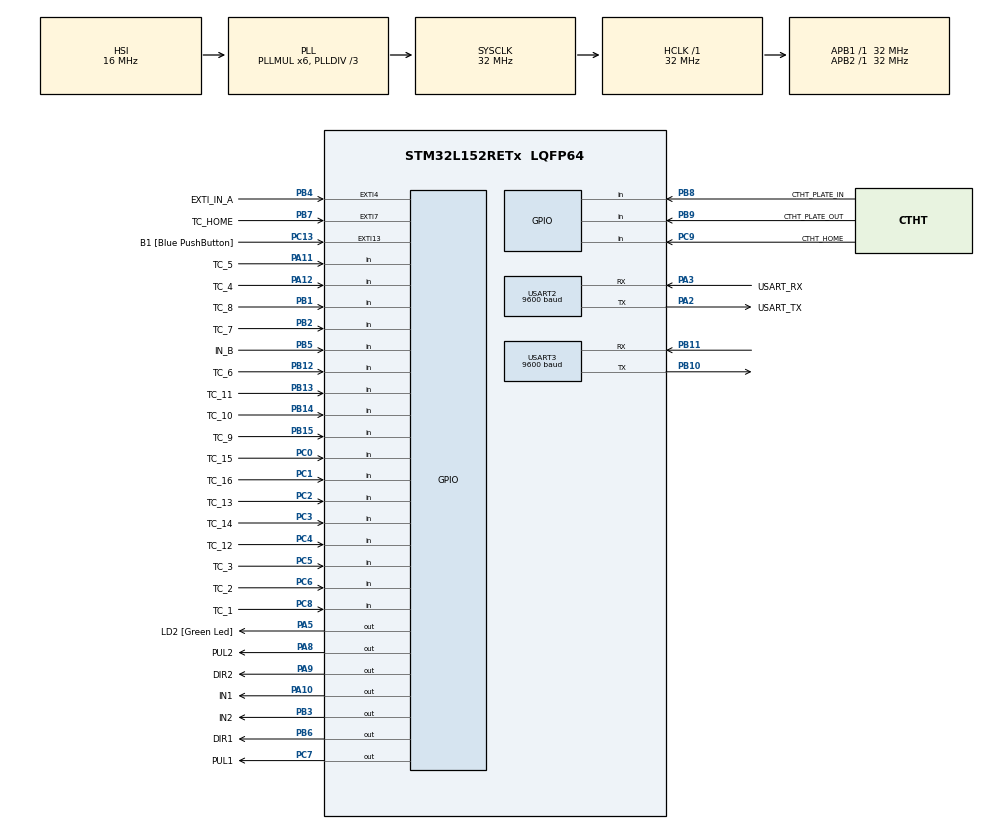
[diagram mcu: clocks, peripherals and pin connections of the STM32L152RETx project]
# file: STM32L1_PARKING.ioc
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Mcu.Family=STM32L1
Mcu.Name=STM32L152RETx
Mcu.Package=LQFP64
NVIC.EXTI4_IRQn=true\:0\:0\:false\:false\:true\:true\:true\:true
NVIC.EXTI9_5_IRQn=true\:0\:0\:false\:false\:true\:true\:true\:true
NVIC.PriorityGroup=NVIC_PRIORITYGROUP_0
NVIC.RCC_IRQn=true\:0\:0\:false\:false\:true\:true\:false\:true
NVIC.TIM2_IRQn=true\:0\:0\:false\:false\:true\:true\:true\:true
NVIC.USART2_IRQn=true\:0\:0\:false\:false\:true\:true\:true\:true
NVIC.USART3_IRQn=true\:0\:0\:false\:false\:true\:true\:true\:true
PA10.GPIO_Label=IN1
PA10.GPIO_PuPd=GPIO_PULLDOWN
PA10.GPIO_Speed=GPIO_SPEED_FREQ_HIGH
PA10.Signal=GPIO_Output
PA11.GPIO_Label=TC_5
PA11.Signal=GPIO_Input
PA12.GPIO_Label=TC_4
PA12.Signal=GPIO_Input
PA13.GPIO_Label=TMS
PA13.Mode=Serial_Wire
PA13.Signal=SYS_JTMS-SWDIO
PA14.GPIO_Label=TCK
PA14.Mode=Serial_Wire
PA14.Signal=SYS_JTCK-SWCLK
PA2.GPIO_Label=USART_TX
PA2.Mode=Asynchronous
PA2.Signal=USART2_TX
PA3.GPIO_Label=USART_RX
PA3.Mode=Asynchronous
PA3.Signal=USART2_RX
PA5.GPIO_Label=LD2 [Green Led]
PA5.Signal=GPIO_Output
PA8.GPIO_Label=PUL2
PA8.GPIO_Speed=GPIO_SPEED_FREQ_VERY_HIGH
PA8.Signal=GPIO_Output
PA9.GPIO_Label=DIR2
PA9.GPIO_Speed=GPIO_SPEED_FREQ_HIGH
PA9.Signal=GPIO_Output
PB1.GPIO_Label=TC_8
PB1.Signal=GPIO_Input
PB10.Mode=Asynchronous
PB10.Signal=USART3_TX
PB11.Mode=Asynchronous
PB11.Signal=USART3_RX
PB12.GPIO_Label=TC_6
PB12.Signal=GPIO_Input
PB13.GPIO_Label=TC_11
PB13.Signal=GPIO_Input
PB14.GPIO_Label=TC_10
PB14.Signal=GPIO_Input
PB15.GPIO_Label=TC_9
PB15.Signal=GPIO_Input
PB2.GPIO_Label=TC_7
PB2.Signal=GPIO_Input
PB3.GPIO_Label=IN2
PB3.GPIO_PuPd=GPIO_PULLDOWN
PB3.GPIO_Speed=GPIO_SPEED_FREQ_HIGH
PB3.Signal=GPIO_Output
PB4.GPIO_Label=EXTI_IN_A
PB4.GPIO_ModeDefaultEXTI=GPIO_MODE_IT_FALLING
PB4.Signal=GPXTI4
PB5.GPIO_Label=IN_B
PB5.Signal=GPIO_Input
PB6.GPIO_Label=DIR1
PB6.GPIO_Speed=GPIO_SPEED_FREQ_HIGH
PB6.Signal=GPIO_Output
PB7.GPIO_Label=TC_HOME
PB7.GPIO_ModeDefaultEXTI=GPIO_MODE_IT_RISING
PB7.GPIO_PuPd=GPIO_PULLDOWN
PB7.Signal=GPXTI7
PB8.GPIO_Label=CTHT_PLATE_IN
PB8.GPIO_PuPd=GPIO_NOPULL
PB8.Signal=GPIO_Input
PB9.GPIO_Label=CTHT_PLATE_OUT
PB9.GPIO_PuPd=GPIO_NOPULL
PB9.Signal=GPIO_Input
PC0.GPIO_Label=TC_15
PC0.Signal=GPIO_Input
PC1.GPIO_Label=TC_16
PC1.Signal=GPIO_Input
PC13-WKUP2.GPIO_Label=B1 [Blue PushButton]
PC13-WKUP2.Signal=GPXTI13
PC14-OSC32_IN.Mode=LSE-External-Oscillator
PC14-OSC32_IN.Signal=RCC_OSC32_IN
PC15-OSC32_OUT.Mode=LSE-External-Oscillator
PC15-OSC32_OUT.Signal=RCC_OSC32_OUT
PC2.GPIO_Label=TC_13
PC2.Signal=GPIO_Input
PC3.GPIO_Label=TC_14
PC3.Signal=GPIO_Input
PC4.GPIO_Label=TC_12
PC4.Signal=GPIO_Input
PC5.GPIO_Label=TC_3
PC5.Signal=GPIO_Input
PC6.GPIO_Label=TC_2
PC6.Signal=GPIO_Input
PC7.GPIO_Label=PUL1
PC7.GPIO_Speed=GPIO_SPEED_FREQ_VERY_HIGH
PC7.Signal=GPIO_Output
PC8.GPIO_Label=TC_1
PC8.Signal=GPIO_Input
PC9.GPIO_Label=CTHT_HOME
PC9.GPIO_PuPd=GPIO_PULLUP
PC9.Signal=GPIO_Input
PH0-OSC_IN.Mode=HSE-External-Clock-Source
PH0-OSC_IN.Signal=RCC_OSC_IN
PH1-OSC_OUT.Signal=RCC_OSC_OUT
ProjectManager.HeapSize=0x200
ProjectManager.StackSize=0x400
ProjectManager.TargetToolchain=MDK-ARM V5.32
RCC.48MHZClocksFreq_Value=48000000
RCC.AHBFreq_Value=32000000
RCC.APB1Freq_Value=32000000
RCC.APB1TimFreq_Value=32000000
RCC.APB2Freq_Value=32000000
RCC.APB2TimFreq_Value=32000000
RCC.HCLKFreq_Value=32000000
RCC.HSE_VALUE=8000000
RCC.HSI_VALUE=16000000
RCC.MSI_VALUE=2097000
RCC.PLLDIV=RCC_PLL_DIV3
RCC.PLLMUL=RCC_PLL_MUL6
RCC.RTCClockSelectionVirtual=RCC_RTCCLKSOURCE_LSE
RCC.SYSCLKFreq_VALUE=32000000
RCC.SYSCLKSource=RCC_SYSCLKSOURCE_PLLCLK
RCC.USBOutput=48000000
RCC.VCOOutputFreq_Value=96000000
TIM2.Period=100-1
TIM2.Prescaler=32-1
USART2.BaudRate=9600
USART2.VirtualMode=VM_ASYNC
USART3.BaudRate=9600
USART3.VirtualMode=VM_ASYNC
VP_TIM2_VS_ClockSourceINT.Mode=Internal
board=NUCLEO-L152RE

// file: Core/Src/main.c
/* USER CODE BEGIN Header */
/**
 ******************************************************************************
 * @file           : main.c
 * @brief          : Main program body
 ******************************************************************************
 * @attention
 *
 * Copyright (c) 2024 STMicroelectronics.
 * All rights reserved.
 *
 * This software is licensed under terms that can be found in the LICENSE file
 * in the root directory of this software component.
 * If no LICENSE file comes with this software, it is provided AS-IS.
 *
 ******************************************************************************
 */
/* USER CODE END Header */
#include "main.h"
#include "tim.h"
#include "usart.h"
#include "gpio.h"

/* USER CODE BEGIN Includes */
#include "stdlib.h"
#include "stdio.h"
#include "math.h"
#include "stdbool.h"
#include "string.h"

#include "plate.h"
#include "process.h"
#include "cell_car.h"
#include "drivenStep.h"
#include "stepFloor.h"
#include "stepPosition.h"
#include "home.h"
#include "parse_data.h"
#include "uart.h"
/* USER CODE END Includes */

/* USER CODE BEGIN PV */
uint8_t RxData, RxDataESP;

uint8_t viTri = 0, soTang = 0;
uint64_t angle_floor = 0, angle_position = 0;
volatile uint64_t pulseP = 0, pulseF = 0;
uint64_t pulseStepP = 0, pulseStepF = 0;

volatile bool flag_complete = true;
volatile bool is_complete = true;

volatile int16_t encoder_read = 0;
uint64_t time_led, time_process;
/* USER CODE END PV */

void SystemClock_Config(void);

/* USER CODE BEGIN 0 */
void HAL_GPIO_EXTI_Callback(uint16_t GPIO_Pin) {
    if (GPIO_Pin == EXTI_IN_A_Pin) {
        if (HAL_GPIO_ReadPin(IN_B_GPIO_Port, IN_B_Pin)) {
            encoder_read--;
        } else {
            encoder_read++;
        }
    }
}
void HAL_UART_RxCpltCallback(UART_HandleTypeDef *huart) {
    if (huart->Instance == huart2.Instance) {
        uart_receive_stm(RxData);
        HAL_UART_Receive_IT(&huart2, &RxData, 1);
    }
    if (huart->Instance == huart3.Instance) {
        uart_receive_esp(RxDataESP);
        HAL_UART_Receive_IT(&huart3, &RxDataESP, 1);
    }
}

void HAL_TIM_PeriodElapsedCallback(TIM_HandleTypeDef *htim) {
    if (htim->Instance == htim2.Instance)  // 80us
    {
        if (pulseP != 0) {
            flag_complete = false;
            pulseP--;
            HAL_GPIO_TogglePin(PUL2_GPIO_Port, PUL2_Pin);
        }
        if (pulseF != 0) {
            flag_complete = false;
            pulseF--;
            HAL_GPIO_TogglePin(PUL1_GPIO_Port, PUL1_Pin);
        }

        if (!flag_complete) {
            if (pulseF == 0 && pulseP == 0) {
                flag_complete = true;
                is_complete = true;
            }
        }
    }
}
/* USER CODE END 0 */

int main(void)
{

  /* MCU Configuration--------------------------------------------------------*/

  /* Reset of all peripherals, Initializes the Flash interface and the Systick. */
  HAL_Init();

  /* Configure the system clock */
  SystemClock_Config();

  /* Initialize all configured peripherals */
  MX_GPIO_Init();
  MX_TIM2_Init();
  MX_USART2_UART_Init();
  MX_USART3_UART_Init();
  /* USER CODE BEGIN 2 */
    // INIT UART
    {
        HAL_UART_Receive_IT(&huart2, &RxData, 1);
        HAL_UART_Receive_IT(&huart3, &RxDataESP, 1);
		HAL_UART_Transmit(&huart3, (uint8_t *)"START\n", 6, 100);
        HAL_UART_Transmit(&huart2, (uint8_t *)"START\n", 6, 100);
    }

    // STEP CONSTRUCTOR
    {
        step_floor_ctor(&stepF, PUL1_GPIO_Port, PUL1_Pin, DIR1_GPIO_Port,
                        DIR1_Pin);
        setPulse(&stepF.inforStep, 1600);

        step_position_ctor(&stepP, PUL2_GPIO_Port, PUL2_Pin, DIR2_GPIO_Port,
                           DIR2_Pin);
        setPulse(&stepP.inforStep, 80000);
    }

    InfrStep_t const *step[] = {&stepF.inforStep, &stepP.inforStep};

    // GET INFOR PULSE STEP
    {
        pulseStepP = getPulse(&stepP.inforStep);
        pulseStepF = getPulse(&stepF.inforStep);
    }

    plate_in();
    go_home();

  /* USER CODE END 2 */

  /* Infinite loop */
  /* USER CODE BEGIN WHILE */
    while (1) {
		read_E18();
		uart_handle_stm();
		uart_handle_esp();
        if (HAL_GetTick() - time_led >= 100) {
            process_parking();
            move_to(step, sizeof(step) / sizeof(step[0]));

            is_complete = false;
            HAL_GPIO_TogglePin(LD2_GPIO_Port, LD2_Pin);
            time_led = HAL_GetTick();
        }

    /* USER CODE END WHILE */

    }
}

void SystemClock_Config(void)
{
  RCC_OscInitTypeDef RCC_OscInitStruct = {0};
  RCC_ClkInitTypeDef RCC_ClkInitStruct = {0};

  /** Configure the main internal regulator output voltage
  */
  __HAL_PWR_VOLTAGESCALING_CONFIG(PWR_REGULATOR_VOLTAGE_SCALE1);

  /** Initializes the RCC Oscillators according to the specified parameters
  * in the RCC_OscInitTypeDef structure.
  */
  RCC_OscInitStruct.OscillatorType = RCC_OSCILLATORTYPE_HSI;
  RCC_OscInitStruct.HSIState = RCC_HSI_ON;
  RCC_OscInitStruct.HSICalibrationValue = RCC_HSICALIBRATION_DEFAULT;
  RCC_OscInitStruct.PLL.PLLState = RCC_PLL_ON;
  RCC_OscInitStruct.PLL.PLLSource = RCC_PLLSOURCE_HSI;
  RCC_OscInitStruct.PLL.PLLMUL = RCC_PLL_MUL6;
  RCC_OscInitStruct.PLL.PLLDIV = RCC_PLL_DIV3;
  if (HAL_RCC_OscConfig(&RCC_OscInitStruct) != HAL_OK)
  {
    Error_Handler();
  }

  /** Initializes the CPU, AHB and APB buses clocks
  */
  RCC_ClkInitStruct.ClockType = RCC_CLOCKTYPE_HCLK|RCC_CLOCKTYPE_SYSCLK
                              |RCC_CLOCKTYPE_PCLK1|RCC_CLOCKTYPE_PCLK2;
  RCC_ClkInitStruct.SYSCLKSource = RCC_SYSCLKSOURCE_PLLCLK;
  RCC_ClkInitStruct.AHBCLKDivider = RCC_SYSCLK_DIV1;
  RCC_ClkInitStruct.APB1CLKDivider = RCC_HCLK_DIV1;
  RCC_ClkInitStruct.APB2CLKDivider = RCC_HCLK_DIV1;

  if (HAL_RCC_ClockConfig(&RCC_ClkInitStruct, FLASH_LATENCY_1) != HAL_OK)
  {
    Error_Handler();
  }
}

void Error_Handler(void)
{
  /* USER CODE BEGIN Error_Handler_Debug */
    /* User can add his own implementation to report the HAL error return state
     */
    __disable_irq();
    while (1) {
    }
  /* USER CODE END Error_Handler_Debug */
}

#ifdef  USE_FULL_ASSERT
/**
  * @brief  Reports the name of the source file and the source line number
  *         where the assert_param error has occurred.
  * @param  file: pointer to the source file name
  * @param  line: assert_param error line source number
  * @retval None
  */
void assert_failed(uint8_t *file, uint32_t line)
{
  /* USER CODE BEGIN 6 */
    /* User can add his own implementation to report the file name and line
       number, ex: printf("Wrong parameters value: file %s on line %d\r\n",
       file, line) */
  /* USER CODE END 6 */
}
#endif /* USE_FULL_ASSERT */
